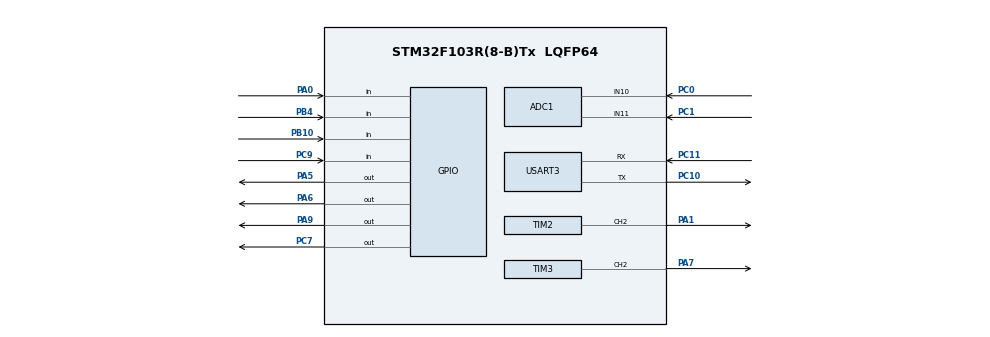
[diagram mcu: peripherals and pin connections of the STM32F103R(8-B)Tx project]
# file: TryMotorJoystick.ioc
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ADC1.Channel-0\#ChannelRegularConversion=ADC_CHANNEL_10
ADC1.Channel-1\#ChannelRegularConversion=ADC_CHANNEL_11
ADC1.DiscontinuousConvMode=ENABLE
ADC1.NbrOfConversion=2
ADC1.NbrOfConversionFlag=1
ADC1.Rank-0\#ChannelRegularConversion=1
ADC1.Rank-1\#ChannelRegularConversion=2
ADC1.SamplingTime-0\#ChannelRegularConversion=ADC_SAMPLETIME_239CYCLES_5
ADC1.SamplingTime-1\#ChannelRegularConversion=ADC_SAMPLETIME_239CYCLES_5
ADC1.master=1
Mcu.Family=STM32F1
Mcu.Name=STM32F103R(8-B)Tx
Mcu.Package=LQFP64
NVIC.PriorityGroup=NVIC_PRIORITYGROUP_4
NVIC.TIM4_IRQn=true\:0\:0\:false\:false\:true\:true\:true\:true
PA0-WKUP.Signal=GPIO_Input
PA1.Signal=S_TIM2_CH2
PA13.Mode=Serial_Wire
PA13.Signal=SYS_JTMS-SWDIO
PA14.Mode=Serial_Wire
PA14.Signal=SYS_JTCK-SWCLK
PA5.Signal=GPIO_Output
PA6.Signal=GPIO_Output
PA7.Signal=S_TIM3_CH2
PA9.Signal=GPIO_Output
PB10.GPIO_PuPd=GPIO_PULLDOWN
PB10.Signal=GPIO_Input
PB4.GPIO_PuPd=GPIO_PULLDOWN
PB4.Signal=GPIO_Input
PC0.Signal=ADCx_IN10
PC1.Signal=ADCx_IN11
PC10.Mode=Asynchronous
PC10.Signal=USART3_TX
PC11.Mode=Asynchronous
PC11.Signal=USART3_RX
PC7.Signal=GPIO_Output
PC9.Signal=GPIO_Input
ProjectManager.HeapSize=0x200
ProjectManager.StackSize=0x400
ProjectManager.TargetToolchain=STM32CubeIDE
RCC.APB1Freq_Value=8000000
RCC.APB2Freq_Value=8000000
SH.ADCx_IN10.0=ADC1_IN10,IN10
SH.ADCx_IN11.0=ADC1_IN11,IN11
SH.S_TIM2_CH2.0=TIM2_CH2,PWM Generation2 CH2
SH.S_TIM3_CH2.0=TIM3_CH2,PWM Generation2 CH2
TIM2.Channel-PWM\ Generation2\ CH2=TIM_CHANNEL_2
TIM2.Period=999
TIM2.Prescaler=71
TIM2.Pulse-PWM\ Generation2\ CH2=500
TIM3.Channel-PWM\ Generation2\ CH2=TIM_CHANNEL_2
TIM3.Period=999
TIM3.Prescaler=71
TIM3.Pulse-PWM\ Generation2\ CH2=500
TIM4.Period=999
TIM4.Prescaler=71
USART3.VirtualMode=VM_ASYNC
VP_TIM4_VS_ClockSourceINT.Mode=Internal
board=custom

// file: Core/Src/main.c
/* USER CODE BEGIN Header */
/**
  ******************************************************************************
  * @file           : main.c
  * @brief          : Main program body
  ******************************************************************************
  * @attention
  *
  * Copyright (c) 2024 STMicroelectronics.
  * All rights reserved.
  *
  * This software is licensed under terms that can be found in the LICENSE file
  * in the root directory of this software component.
  * If no LICENSE file comes with this software, it is provided AS-IS.
  *
  ******************************************************************************
  */
/* USER CODE END Header */
#include "main.h"

/* USER CODE BEGIN Includes */
#include "string.h"
#include "stdio.h"
#include "moving_average_filter.h"

/* USER CODE END Includes */

/* USER CODE BEGIN PTD */
#define MaxRpm 120
/* USER CODE END PTD */

ADC_HandleTypeDef hadc1;

TIM_HandleTypeDef htim2;
TIM_HandleTypeDef htim3;
TIM_HandleTypeDef htim4;

UART_HandleTypeDef huart3;

/* USER CODE BEGIN PV */
uint32_t adcValue[2];
volatile GPIO_PinState lastButtonState=GPIO_PIN_SET;
volatile uint8_t joystickEnabled=0;
uint8_t rxDataF=0;
uint8_t rxDataB=0;
uint8_t obstacleFront=0;
uint8_t obstacleBack=0;
uint32_t currentDutyCycleLeft=0;
uint32_t currentDutyCycleRight=0;
uint32_t dutyCycleIncrement=50;
uint32_t targetDutyCycleLeft=0;
uint32_t targetDutyCycleRight=0;
uint32_t targetRPMLeft=0;
uint32_t targetRPMRight=0;

static MovingAverageFilter_t joystickFilterX;
static MovingAverageFilter_t joystickFilterY;

/* USER CODE END PV */

void SystemClock_Config(void);
static void MX_GPIO_Init(void);
static void MX_ADC1_Init(void);
static void MX_TIM2_Init(void);
static void MX_TIM3_Init(void);
static void MX_TIM4_Init(void);
static void MX_USART3_UART_Init(void);

/* USER CODE BEGIN 0 */
/*
 * void updateDutyCycle(uint32_t targetDutyCycleLeft,uint32_t targetDutyCycleRight)
{
	//gradually adjust the left motor duty cycle
	if(currentDutyCycleLeft<targetDutyCycleLeft){
		currentDutyCycleLeft+=dutyCycleIncrement;
		if(currentDutyCycleLeft>999)
			currentDutyCycleLeft=999;
	}

	else if(currentDutyCycleLeft>targetDutyCycleLeft){
		if(currentDutyCycleLeft<dutyCycleIncrement)
			currentDutyCycleLeft=0;
		else{
			currentDutyCycleLeft-=dutyCycleIncrement;
		}
	}

	if(currentDutyCycleRight<targetDutyCycleRight)
	{
		currentDutyCycleRight+=dutyCycleIncrement;
		if(currentDutyCycleRight>999)
			currentDutyCycleRight=999;
	}
	else if(currentDutyCycleRight>targetDutyCycleRight)
	{
		if(currentDutyCycleRight<dutyCycleIncrement)
			currentDutyCycleRight=0;
		else{
			currentDutyCycleRight-=dutyCycleIncrement;
		}
	}
	__HAL_TIM_SET_COMPARE(&htim2,TIM_CHANNEL_2,currentDutyCycleLeft);
	__HAL_TIM_SET_COMPARE(&htim3,TIM_CHANNEL_2,currentDutyCycleRight);

}
 *
 * */

/* USER CODE END 0 */

int main(void)
{

  /* MCU Configuration--------------------------------------------------------*/

  /* Reset of all peripherals, Initializes the Flash interface and the Systick. */
  HAL_Init();

  /* Configure the system clock */
  SystemClock_Config();

  /* Initialize all configured peripherals */
  MX_GPIO_Init();
  MX_ADC1_Init();
  MX_TIM2_Init();
  MX_TIM3_Init();
  MX_TIM4_Init();
  MX_USART3_UART_Init();
  /* USER CODE BEGIN 2 */
  HAL_ADC_Start_IT(&hadc1);//joystick
  HAL_TIM_PWM_Start(&htim2, TIM_CHANNEL_2);
  HAL_TIM_PWM_Start(&htim3, TIM_CHANNEL_2);//pwm
  HAL_TIM_Base_Start_IT(&htim4);//rpm
  HAL_GPIO_WritePin(GPIOA, GPIO_PIN_6, GPIO_PIN_RESET);
  HAL_GPIO_WritePin(GPIOA, GPIO_PIN_5, GPIO_PIN_RESET);
  HAL_GPIO_WritePin(GPIOA, GPIO_PIN_9, GPIO_PIN_RESET);
  HAL_GPIO_WritePin(GPIOC, GPIO_PIN_7, GPIO_PIN_RESET);//motor driver
  /* USER CODE END 2 */

  /* Infinite loop */
  /* USER CODE BEGIN WHILE */
  while (1)
  {
	  GPIO_PinState currentButtonState=HAL_GPIO_ReadPin(GPIOA,GPIO_PIN_0);
	  if(currentButtonState==GPIO_PIN_RESET&&lastButtonState==GPIO_PIN_SET)
	  {
		  joystickEnabled=!joystickEnabled;
	  }
	  lastButtonState=currentButtonState;
	  if(joystickEnabled){
		  HAL_ADC_Start(&hadc1);//pc0-x value
		  if(HAL_ADC_PollForConversion(&hadc1,1000)==HAL_OK){
			  adcValue[0]=MovingAverageFilter_Update(&joystickFilterX, HAL_ADC_GetValue(&hadc1));
		  }
		  HAL_ADC_Start(&hadc1);//pc1-yvalue
		  if(HAL_ADC_PollForConversion(&hadc1,1000)==HAL_OK){
			  adcValue[1]=MovingAverageFilter_Update(&joystickFilterY, HAL_ADC_GetValue(&hadc1));
		  }

	  }
	  else { // ADC timeout 또는 조이스틱 비활성화 시 모터 정지
	            HAL_GPIO_WritePin(GPIOA, GPIO_PIN_9, 0);
	            HAL_GPIO_WritePin(GPIOC, GPIO_PIN_7, 0);
	            HAL_GPIO_WritePin(GPIOA, GPIO_PIN_6, 0);
	            HAL_GPIO_WritePin(GPIOA, GPIO_PIN_5, 0);
	            continue; // 다음 루프로 이동
	        }

//gpio by raspberry pi

	     GPIO_PinState pin2_state = HAL_GPIO_ReadPin(GPIOB, GPIO_PIN_10);//get B10
	  GPIO_PinState pin10_state = HAL_GPIO_ReadPin(GPIOB, GPIO_PIN_4);//get B4

		  if (adcValue[0] < 3000) {
		      // when forward

			  if (pin2_state == GPIO_PIN_SET) {
				  rxDataF = 1;
				  rxDataB = 0;
			  } else {
				  rxDataF = 0;
				  rxDataB = 0;
			  }
		  }
		  else if (adcValue[0] >3200) {
			  // when backward

			  if (pin10_state == GPIO_PIN_SET) {
				  rxDataB = 1;
				  rxDataF = 0;
			  } else {
				  rxDataB = 0;
				  rxDataF = 0;
			  }
		  } else {
			  // not backward or forward
			  rxDataF = 0;
			  rxDataB = 0;
		  }

//motor
		  if ((rxDataF==1 && adcValue[0] < 3000)||(rxDataB==1&&adcValue[0]>3200))
		  {
			  HAL_GPIO_WritePin(GPIOA, GPIO_PIN_9, 0);
			  HAL_GPIO_WritePin(GPIOC, GPIO_PIN_7, 0);
			  HAL_GPIO_WritePin(GPIOA, GPIO_PIN_6, 0);
			  HAL_GPIO_WritePin(GPIOA, GPIO_PIN_5, 0);
		  }//block joystick when camera send 1

		  else{//when there is no obstacle

			  if (adcValue[1] < 2900) {
				  if (adcValue[0] < 3000) {
					  HAL_GPIO_WritePin(GPIOA, GPIO_PIN_9, 1);//left
					  HAL_GPIO_WritePin(GPIOC, GPIO_PIN_7, 0);
					  HAL_GPIO_WritePin(GPIOA, GPIO_PIN_6, 1);//right
					  HAL_GPIO_WritePin(GPIOA, GPIO_PIN_5, 0);
					  //  targetDutyCycleLeft = clamp((3000 - adcValue[0]) * 999 / 3000, 0, 999);
					  //targetDutyCycleRight = clamp((3000 - adcValue[0]) * 999 / 3000, 0, 999);
					  //__HAL_TIM_SET_COMPARE(&htim2,TIM_CHANNEL_2,999);
					  //__HAL_TIM_SET_COMPARE(&htim3,TIM_CHANNEL_2,999);
				  }
				  if (adcValue[0] > 3200) {
					  HAL_GPIO_WritePin(GPIOA, GPIO_PIN_9, 0);
					  HAL_GPIO_WritePin(GPIOC, GPIO_PIN_7, 1);
					  HAL_GPIO_WritePin(GPIOA, GPIO_PIN_6, 0);
					  HAL_GPIO_WritePin(GPIOA, GPIO_PIN_5, 1);
					  //__HAL_TIM_SET_COMPARE(&htim2,TIM_CHANNEL_2,999);
					  //__HAL_TIM_SET_COMPARE(&htim3,TIM_CHANNEL_2,999);
					  //    targetDutyCycleLeft = clamp((adcValue[0] - 3300) * 999 / (4095 - 3300), 0, 999);
					  //  targetDutyCycleRight = clamp((adcValue[0] - 3300) * 999 / (4095 - 3300), 0, 999);
				  }
				  if(adcValue[0]<=3200&&adcValue[0]>=3000){
					  HAL_GPIO_WritePin(GPIOA, GPIO_PIN_9, 1);
					  HAL_GPIO_WritePin(GPIOC, GPIO_PIN_7, 0);
					  HAL_GPIO_WritePin(GPIOA, GPIO_PIN_6, 0);
					  HAL_GPIO_WritePin(GPIOA, GPIO_PIN_5, 0);
//					  __HAL_TIM_SET_COMPARE(&htim2,TIM_CHANNEL_2,999);

					  //  targetDutyCycleLeft = 0;
					  //targetDutyCycleRight = clamp((2900 - adcValue[0]) * 999 / 2900, 0, 999);
				  }
			  }
			  if (adcValue[1] > 3200) {
				  if (adcValue[0] < 3000) {
					  HAL_GPIO_WritePin(GPIOA, GPIO_PIN_9, 1);
					  HAL_GPIO_WritePin(GPIOC, GPIO_PIN_7, 0);
					  HAL_GPIO_WritePin(GPIOA, GPIO_PIN_6, 1);
					  HAL_GPIO_WritePin(GPIOA, GPIO_PIN_5, 0);
					//  __HAL_TIM_SET_COMPARE(&htim2,TIM_CHANNEL_2,999);
					  //__HAL_TIM_SET_COMPARE(&htim3,TIM_CHANNEL_2,999);
					  //  targetDutyCycleLeft = clamp((3000 - adcValue[0]) * 999 / 3000, 0, 999);
					  //targetDutyCycleRight = clamp((3000 - adcValue[0]) * 999 / 3000, 0, 999);
				  }
				  if (adcValue[0] > 3200) {
					  HAL_GPIO_WritePin(GPIOA, GPIO_PIN_9, 0);
					  HAL_GPIO_WritePin(GPIOC, GPIO_PIN_7, 1);
					  HAL_GPIO_WritePin(GPIOA, GPIO_PIN_6, 0);
					  HAL_GPIO_WritePin(GPIOA, GPIO_PIN_5, 1);
					//  __HAL_TIM_SET_COMPARE(&htim2,TIM_CHANNEL_2,999);
					  //__HAL_TIM_SET_COMPARE(&htim3,TIM_CHANNEL_2,999);
					  //    targetDutyCycleLeft = clamp((adcValue[0] - 3300) * 999 / (4095 - 3300), 0, 999);
					  //  targetDutyCycleRight = clamp((adcValue[0] - 3300) * 999 / (4095 - 3300), 0, 999);
				  }
				  if(adcValue[0]<=3200&&adcValue[0]>=3000){
					  HAL_GPIO_WritePin(GPIOA, GPIO_PIN_9, 0);
					  HAL_GPIO_WritePin(GPIOC, GPIO_PIN_7, 0);
					  HAL_GPIO_WritePin(GPIOA, GPIO_PIN_6, 1);
					  HAL_GPIO_WritePin(GPIOA, GPIO_PIN_5, 0);

					 // __HAL_TIM_SET_COMPARE(&htim3,TIM_CHANNEL_2,999);
					  //        targetDutyCycleLeft = clamp((3100 - adcValue[0]) * 999 / 3100, 0, 999);
					  //      targetDutyCycleRight = 0;
				  }
			  }
			  if(adcValue[1]<=3200&&adcValue[1]>=2900) {
				  //   targetDutyCycleLeft = 0;
				  // targetDutyCycleRight = 0;
				  if (adcValue[0] < 3000) {
					  HAL_GPIO_WritePin(GPIOA, GPIO_PIN_9, 1);
					  HAL_GPIO_WritePin(GPIOC, GPIO_PIN_7, 0);
					  HAL_GPIO_WritePin(GPIOA, GPIO_PIN_6, 1);
					  HAL_GPIO_WritePin(GPIOA, GPIO_PIN_5, 0);
				//	  __HAL_TIM_SET_COMPARE(&htim2,TIM_CHANNEL_2,999);
					//  __HAL_TIM_SET_COMPARE(&htim3,TIM_CHANNEL_2,999);
					  //      targetDutyCycleLeft = clamp((3000 - adcValue[0]) * 999 / 3000, 0, 999);
					  //    targetDutyCycleRight = clamp((3000 - adcValue[0]) * 999 / 3000, 0, 999);
				  }
				  if (adcValue[0] > 3200) {
					  HAL_GPIO_WritePin(GPIOA, GPIO_PIN_9, 0);
					  HAL_GPIO_WritePin(GPIOC, GPIO_PIN_7, 1);
					  HAL_GPIO_WritePin(GPIOA, GPIO_PIN_6, 0);
					  HAL_GPIO_WritePin(GPIOA, GPIO_PIN_5, 1);
				//	  __HAL_TIM_SET_COMPARE(&htim2,TIM_CHANNEL_2,999);
					//  __HAL_TIM_SET_COMPARE(&htim3,TIM_CHANNEL_2,999);
					  //        targetDutyCycleLeft = clamp((adcValue[0] - 3300) * 999 / (4095 - 3300), 0, 999);
					  //      targetDutyCycleRight = clamp((adcValue[0] - 3300) * 999 / (4095 - 3300), 0, 999);
				  }
				  if(adcValue[0]<=3200&&adcValue[0]>=3000){
					  HAL_GPIO_WritePin(GPIOA, GPIO_PIN_9, 0);
					  HAL_GPIO_WritePin(GPIOC, GPIO_PIN_7, 0);
					  HAL_GPIO_WritePin(GPIOA, GPIO_PIN_6, 0);
					  HAL_GPIO_WritePin(GPIOA, GPIO_PIN_5, 0);

					  //    targetDutyCycleLeft = 0;
					  //      targetDutyCycleRight = 0;
				  }
			  }

		  }

		  /* USER CODE END WHILE */

  }
}

void SystemClock_Config(void)
{
  RCC_OscInitTypeDef RCC_OscInitStruct = {0};
  RCC_ClkInitTypeDef RCC_ClkInitStruct = {0};
  RCC_PeriphCLKInitTypeDef PeriphClkInit = {0};

  /** Initializes the RCC Oscillators according to the specified parameters
  * in the RCC_OscInitTypeDef structure.
  */
  RCC_OscInitStruct.OscillatorType = RCC_OSCILLATORTYPE_HSI;
  RCC_OscInitStruct.HSIState = RCC_HSI_ON;
  RCC_OscInitStruct.HSICalibrationValue = RCC_HSICALIBRATION_DEFAULT;
  RCC_OscInitStruct.PLL.PLLState = RCC_PLL_NONE;
  if (HAL_RCC_OscConfig(&RCC_OscInitStruct) != HAL_OK)
  {
    Error_Handler();
  }

  /** Initializes the CPU, AHB and APB buses clocks
  */
  RCC_ClkInitStruct.ClockType = RCC_CLOCKTYPE_HCLK|RCC_CLOCKTYPE_SYSCLK
                              |RCC_CLOCKTYPE_PCLK1|RCC_CLOCKTYPE_PCLK2;
  RCC_ClkInitStruct.SYSCLKSource = RCC_SYSCLKSOURCE_HSI;
  RCC_ClkInitStruct.AHBCLKDivider = RCC_SYSCLK_DIV1;
  RCC_ClkInitStruct.APB1CLKDivider = RCC_HCLK_DIV1;
  RCC_ClkInitStruct.APB2CLKDivider = RCC_HCLK_DIV1;

  if (HAL_RCC_ClockConfig(&RCC_ClkInitStruct, FLASH_LATENCY_0) != HAL_OK)
  {
    Error_Handler();
  }
  PeriphClkInit.PeriphClockSelection = RCC_PERIPHCLK_ADC;
  PeriphClkInit.AdcClockSelection = RCC_ADCPCLK2_DIV2;
  if (HAL_RCCEx_PeriphCLKConfig(&PeriphClkInit) != HAL_OK)
  {
    Error_Handler();
  }
}

static void MX_ADC1_Init(void)
{

  ADC_ChannelConfTypeDef sConfig = {0};

  /** Common config
  */
  hadc1.Instance = ADC1;
  hadc1.Init.ScanConvMode = ADC_SCAN_ENABLE;
  hadc1.Init.ContinuousConvMode = DISABLE;
  hadc1.Init.DiscontinuousConvMode = ENABLE;
  hadc1.Init.NbrOfDiscConversion = 1;
  hadc1.Init.ExternalTrigConv = ADC_SOFTWARE_START;
  hadc1.Init.DataAlign = ADC_DATAALIGN_RIGHT;
  hadc1.Init.NbrOfConversion = 2;
  if (HAL_ADC_Init(&hadc1) != HAL_OK)
  {
    Error_Handler();
  }

  /** Configure Regular Channel
  */
  sConfig.Channel = ADC_CHANNEL_10;
  sConfig.Rank = ADC_REGULAR_RANK_1;
  sConfig.SamplingTime = ADC_SAMPLETIME_239CYCLES_5;
  if (HAL_ADC_ConfigChannel(&hadc1, &sConfig) != HAL_OK)
  {
    Error_Handler();
  }

  /** Configure Regular Channel
  */
  sConfig.Channel = ADC_CHANNEL_11;
  sConfig.Rank = ADC_REGULAR_RANK_2;
  if (HAL_ADC_ConfigChannel(&hadc1, &sConfig) != HAL_OK)
  {
    Error_Handler();
  }

}

static void MX_TIM2_Init(void)
{

  TIM_MasterConfigTypeDef sMasterConfig = {0};
  TIM_OC_InitTypeDef sConfigOC = {0};

  htim2.Instance = TIM2;
  htim2.Init.Prescaler = 71;
  htim2.Init.CounterMode = TIM_COUNTERMODE_UP;
  htim2.Init.Period = 999;
  htim2.Init.ClockDivision = TIM_CLOCKDIVISION_DIV1;
  htim2.Init.AutoReloadPreload = TIM_AUTORELOAD_PRELOAD_DISABLE;
  if (HAL_TIM_PWM_Init(&htim2) != HAL_OK)
  {
    Error_Handler();
  }
  sMasterConfig.MasterOutputTrigger = TIM_TRGO_RESET;
  sMasterConfig.MasterSlaveMode = TIM_MASTERSLAVEMODE_DISABLE;
  if (HAL_TIMEx_MasterConfigSynchronization(&htim2, &sMasterConfig) != HAL_OK)
  {
    Error_Handler();
  }
  sConfigOC.OCMode = TIM_OCMODE_PWM1;
  sConfigOC.Pulse = 500;
  sConfigOC.OCPolarity = TIM_OCPOLARITY_HIGH;
  sConfigOC.OCFastMode = TIM_OCFAST_DISABLE;
  if (HAL_TIM_PWM_ConfigChannel(&htim2, &sConfigOC, TIM_CHANNEL_2) != HAL_OK)
  {
    Error_Handler();
  }
  HAL_TIM_MspPostInit(&htim2);

}

static void MX_TIM3_Init(void)
{

  TIM_MasterConfigTypeDef sMasterConfig = {0};
  TIM_OC_InitTypeDef sConfigOC = {0};

  htim3.Instance = TIM3;
  htim3.Init.Prescaler = 71;
  htim3.Init.CounterMode = TIM_COUNTERMODE_UP;
  htim3.Init.Period = 999;
  htim3.Init.ClockDivision = TIM_CLOCKDIVISION_DIV1;
  htim3.Init.AutoReloadPreload = TIM_AUTORELOAD_PRELOAD_DISABLE;
  if (HAL_TIM_PWM_Init(&htim3) != HAL_OK)
  {
    Error_Handler();
  }
  sMasterConfig.MasterOutputTrigger = TIM_TRGO_RESET;
  sMasterConfig.MasterSlaveMode = TIM_MASTERSLAVEMODE_DISABLE;
  if (HAL_TIMEx_MasterConfigSynchronization(&htim3, &sMasterConfig) != HAL_OK)
  {
    Error_Handler();
  }
  sConfigOC.OCMode = TIM_OCMODE_PWM1;
  sConfigOC.Pulse = 500;
  sConfigOC.OCPolarity = TIM_OCPOLARITY_HIGH;
  sConfigOC.OCFastMode = TIM_OCFAST_DISABLE;
  if (HAL_TIM_PWM_ConfigChannel(&htim3, &sConfigOC, TIM_CHANNEL_2) != HAL_OK)
  {
    Error_Handler();
  }
  HAL_TIM_MspPostInit(&htim3);

}

static void MX_TIM4_Init(void)
{

  TIM_ClockConfigTypeDef sClockSourceConfig = {0};
  TIM_MasterConfigTypeDef sMasterConfig = {0};

  htim4.Instance = TIM4;
  htim4.Init.Prescaler = 71;
  htim4.Init.CounterMode = TIM_COUNTERMODE_UP;
  htim4.Init.Period = 999;
  htim4.Init.ClockDivision = TIM_CLOCKDIVISION_DIV1;
  htim4.Init.AutoReloadPreload = TIM_AUTORELOAD_PRELOAD_DISABLE;
  if (HAL_TIM_Base_Init(&htim4) != HAL_OK)
  {
    Error_Handler();
  }
  sClockSourceConfig.ClockSource = TIM_CLOCKSOURCE_INTERNAL;
  if (HAL_TIM_ConfigClockSource(&htim4, &sClockSourceConfig) != HAL_OK)
  {
    Error_Handler();
  }
  sMasterConfig.MasterOutputTrigger = TIM_TRGO_RESET;
  sMasterConfig.MasterSlaveMode = TIM_MASTERSLAVEMODE_DISABLE;
  if (HAL_TIMEx_MasterConfigSynchronization(&htim4, &sMasterConfig) != HAL_OK)
  {
    Error_Handler();
  }

}

static void MX_USART3_UART_Init(void)
{

  huart3.Instance = USART3;
  huart3.Init.BaudRate = 115200;
  huart3.Init.WordLength = UART_WORDLENGTH_8B;
  huart3.Init.StopBits = UART_STOPBITS_1;
  huart3.Init.Parity = UART_PARITY_NONE;
  huart3.Init.Mode = UART_MODE_TX_RX;
  huart3.Init.HwFlowCtl = UART_HWCONTROL_NONE;
  huart3.Init.OverSampling = UART_OVERSAMPLING_16;
  if (HAL_UART_Init(&huart3) != HAL_OK)
  {
    Error_Handler();
  }

}

static void MX_GPIO_Init(void)
{
  GPIO_InitTypeDef GPIO_InitStruct = {0};

  /* GPIO Ports Clock Enable */
  __HAL_RCC_GPIOC_CLK_ENABLE();
  __HAL_RCC_GPIOA_CLK_ENABLE();
  __HAL_RCC_GPIOB_CLK_ENABLE();

  /*Configure GPIO pin Output Level */
  HAL_GPIO_WritePin(GPIOA, GPIO_PIN_5|GPIO_PIN_6|GPIO_PIN_9, GPIO_PIN_RESET);

  /*Configure GPIO pin Output Level */
  HAL_GPIO_WritePin(GPIOC, GPIO_PIN_7, GPIO_PIN_RESET);

  /*Configure GPIO pin : PA0 */
  GPIO_InitStruct.Pin = GPIO_PIN_0;
  GPIO_InitStruct.Mode = GPIO_MODE_INPUT;
  GPIO_InitStruct.Pull = GPIO_NOPULL;
  HAL_GPIO_Init(GPIOA, &GPIO_InitStruct);

  /*Configure GPIO pins : PA5 PA6 PA9 */
  GPIO_InitStruct.Pin = GPIO_PIN_5|GPIO_PIN_6|GPIO_PIN_9;
  GPIO_InitStruct.Mode = GPIO_MODE_OUTPUT_PP;
  GPIO_InitStruct.Pull = GPIO_NOPULL;
  GPIO_InitStruct.Speed = GPIO_SPEED_FREQ_LOW;
  HAL_GPIO_Init(GPIOA, &GPIO_InitStruct);

  /*Configure GPIO pins : PB10 PB4 */
  GPIO_InitStruct.Pin = GPIO_PIN_10|GPIO_PIN_4;
  GPIO_InitStruct.Mode = GPIO_MODE_INPUT;
  GPIO_InitStruct.Pull = GPIO_PULLDOWN;
  HAL_GPIO_Init(GPIOB, &GPIO_InitStruct);

  /*Configure GPIO pin : PC7 */
  GPIO_InitStruct.Pin = GPIO_PIN_7;
  GPIO_InitStruct.Mode = GPIO_MODE_OUTPUT_PP;
  GPIO_InitStruct.Pull = GPIO_NOPULL;
  GPIO_InitStruct.Speed = GPIO_SPEED_FREQ_LOW;
  HAL_GPIO_Init(GPIOC, &GPIO_InitStruct);

  /*Configure GPIO pin : PC9 */
  GPIO_InitStruct.Pin = GPIO_PIN_9;
  GPIO_InitStruct.Mode = GPIO_MODE_INPUT;
  GPIO_InitStruct.Pull = GPIO_NOPULL;
  HAL_GPIO_Init(GPIOC, &GPIO_InitStruct);

}

void Error_Handler(void)
{
  __disable_irq();
  while (1)
  {
  }
}
